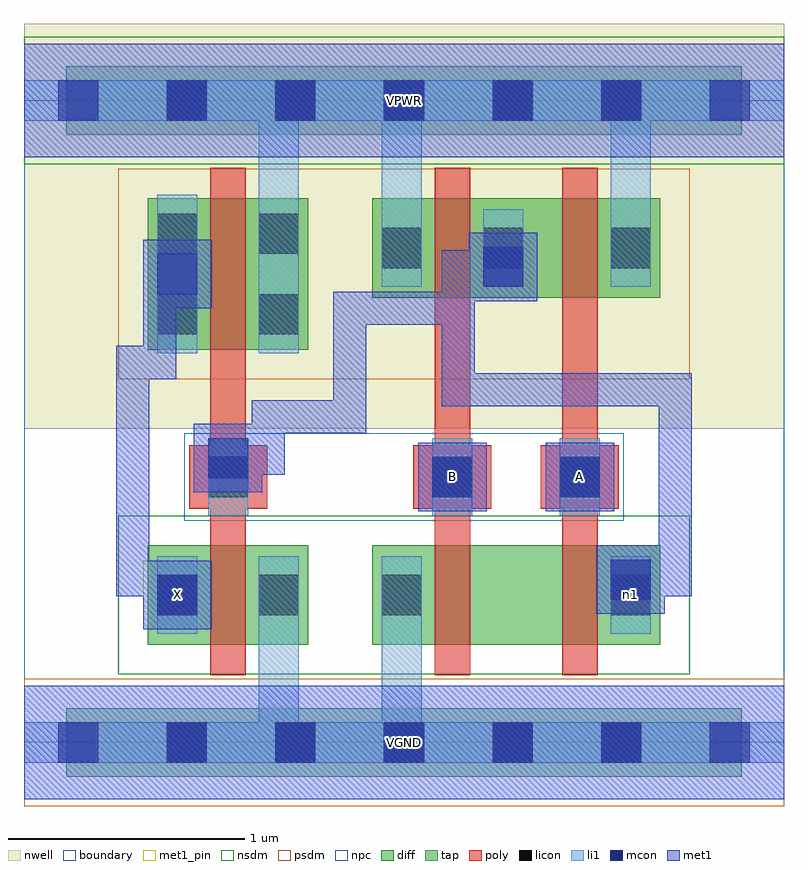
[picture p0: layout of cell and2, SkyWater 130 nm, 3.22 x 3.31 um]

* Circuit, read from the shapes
.subckt and2 A B VGND VPWR X n1
XM1 VGND n1 X VGND sky130_fd_pr__nfet_01v8 w=0.42 l=0.15
XM2 n2 B VGND VGND sky130_fd_pr__nfet_01v8 w=0.42 l=0.15
XM3 n1 A n2 VGND sky130_fd_pr__nfet_01v8 w=0.42 l=0.15
XM4 VPWR n1 X VPWR sky130_fd_pr__pfet_01v8 w=0.64 l=0.15
XM5 n1 B VPWR VPWR sky130_fd_pr__pfet_01v8 w=0.42 l=0.15
XM6 VPWR A n1 VPWR sky130_fd_pr__pfet_01v8 w=0.42 l=0.15
.ends

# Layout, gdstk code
import gdstk
lib = gdstk.Library(unit=1e-6, precision=1e-09)
def R(c, l, rs):  # rectangles x0, y0, x1, y1
    for r in rs: c.add(gdstk.rectangle(r[:2], r[2:], *l))
def A(c, l, x, y, w, h, nx, ny, dx, dy):  # array of equal rectangles
    R(c, l, [(x+i*dx, y+j*dy, x+i*dx+w, y+j*dy+h) for i in range(nx) for j in range(ny)])
nwell = (64, 20)
diff = (65, 20)
tap = (65, 44)
poly = (66, 20)
licon = (66, 44)
li1 = (67, 20)
mcon = (67, 44)
met1_pin = (68, 16)
met1 = (68, 20)
nsdm = (93, 44)
psdm = (94, 20)
npc = (95, 20)
boundary = (235, 4)

and2 = lib.new_cell('and2')
R(and2, nwell, [(0,1.33,3.22,3.045)])
R(and2, diff, [(0.525,0.415,1.205,0.835), (1.475,0.415,2.695,0.835), (0.525,1.665,1.205,2.305), (1.475,1.885,2.695,2.305)])
R(and2, tap, [(0.18,-0.145,3.04,0.145), (0.18,2.575,3.04,2.865)])
R(and2, poly, [(0.79,0.285,0.94,2.435), (1.74,0.285,1.89,2.435), (2.28,0.285,2.43,2.435), (0.7,0.99,1.03,1.26), (1.65,0.99,1.98,1.26), (2.19,0.99,2.52,1.26)])
A(and2, licon, 0.605, -0.085, 0.17, 0.17, 5, 2, 0.46, 2.72)
R(and2, licon, [(0.565,0.54,0.735,0.71), (0.995,0.54,1.165,0.71), (1.515,0.54,1.685,0.71), (2.485,0.54,2.655,0.71), (0.78,1.04,0.95,1.21), (1.73,1.04,1.9,1.21), (2.27,1.04,2.44,1.21), (0.565,1.73,0.735,1.9), (0.995,1.73,1.165,1.9), (1.515,2.01,1.685,2.18), (1.945,2.01,2.115,2.18), (2.485,2.01,2.655,2.18), (0.565,2.07,0.735,2.24), (0.995,2.07,1.165,2.24)])
R(and2, li1, [(0,-0.085,3.22,0.085), (0.995,-0.085,1.165,0.79), (1.515,-0.085,1.685,0.79), (0.565,0.46,0.735,0.79), (0.995,0.46,1.165,0.79), (1.515,0.46,1.685,0.79), (2.485,0.46,2.655,0.79), (0.78,0.96,0.95,1.29), (1.73,0.96,1.9,1.29), (2.27,0.96,2.44,1.29), (0.565,1.65,0.735,2.32), (0.995,1.65,1.165,2.32), (0.995,1.65,1.165,2.805), (1.515,1.93,1.685,2.26), (1.515,1.93,1.685,2.805), (1.945,1.93,2.115,2.26), (2.485,1.93,2.655,2.26), (2.485,1.93,2.655,2.805), (0,2.635,3.22,2.805)])
A(and2, mcon, 0.145, -0.085, 0.17, 0.17, 7, 2, 0.46, 2.72)
R(and2, mcon, [(0.565,0.54,0.735,0.71), (2.485,0.605,2.655,0.775), (1.73,1.04,1.9,1.21), (2.27,1.04,2.44,1.21), (0.78,1.12,0.95,1.29), (0.565,1.9,0.735,2.07), (1.945,1.93,2.115,2.1)])
R(and2, met1_pin, [(0,-0.24,3.22,0.24), (0.505,0.48,0.795,0.77), (1.67,0.98,1.96,1.27), (2.21,0.98,2.5,1.27), (0,2.48,3.22,2.96)])
R(and2, met1, [(0,-0.24,3.22,0.24), (0.505,0.48,0.795,0.77), (2.425,0.545,2.715,0.835), (0.39,0.62,0.645,0.76), (0.39,0.62,0.53,1.68), (0.505,0.62,0.645,0.76), (2.5,0.62,2.83,0.76), (2.69,0.62,2.83,1.565), (1.67,0.98,1.96,1.27), (2.21,0.98,2.5,1.27), (0.72,1.06,1.01,1.35), (0.795,1.135,1.105,1.275), (0.965,1.135,1.105,1.45), (0.965,1.31,1.45,1.45), (1.31,1.31,1.45,1.91), (1.77,1.425,1.91,1.91), (1.77,1.425,2.83,1.565), (0.39,1.54,0.645,1.68), (0.505,1.54,0.645,2.025), (1.31,1.77,1.91,1.91), (1.77,1.77,1.91,2.085), (0.505,1.84,0.795,2.13), (1.885,1.87,2.175,2.16), (0.505,1.885,0.645,2.025), (1.77,1.945,2.1,2.085), (0,2.48,3.22,2.96)])
R(and2, nsdm, [(0.4,0.29,2.82,0.96), (0,2.45,3.22,2.99)])
R(and2, psdm, [(0,-0.27,3.22,0.27), (0.4,1.54,2.82,2.43)])
R(and2, npc, [(0.68,0.94,2.54,1.31)])
R(and2, boundary, [(0,0,3.22,2.72)])
and2.add(gdstk.Label('n1', (2.57,0.625), layer=67, texttype=5))
and2.add(gdstk.Label('A', (2.355,1.125), layer=68, texttype=5))
and2.add(gdstk.Label('B', (1.815,1.125), layer=68, texttype=5))
and2.add(gdstk.Label('X', (0.65,0.625), layer=68, texttype=5))
and2.add(gdstk.Label('VPWR', (1.61,2.72), layer=68, texttype=5))
and2.add(gdstk.Label('VGND', (1.61,0), layer=68, texttype=5))
and2.add(gdstk.Label('A', (2.355,1.125), layer=68, texttype=16))
and2.add(gdstk.Label('B', (1.815,1.125), layer=68, texttype=16))
and2.add(gdstk.Label('X', (0.65,0.625), layer=68, texttype=16))
and2.add(gdstk.Label('VPWR', (1.61,2.72), layer=68, texttype=16))
and2.add(gdstk.Label('VGND', (1.61,0), layer=68, texttype=16))

lib.write_gds('and2.gds')
